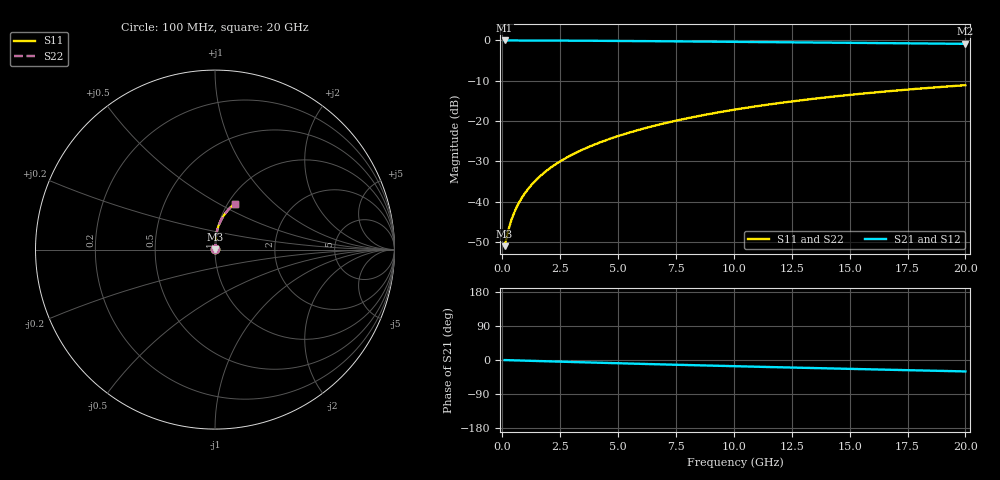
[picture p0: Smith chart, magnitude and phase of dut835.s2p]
! Touchstone file exported from HFSS 2024.1.0
!  File:  C:/UserFiles/LocalFiles/RDL_TSV_Batchsim/temp_RDL_top_835_1779855092.aedt
!  Generated:  12:13:35 PM May 27, 2026
!  Design:  RDL_top
!  Project:  temp_RDL_top_835_1779855092
!  Setup:  Setup1
!  Solution:  Sweep
! Variables:
!  dtsv = 10.80580581um
!  hbump = 3um
!  htsv = 69.52um
!  ldown = 100um
!  lrdl = 429.91um
!  p = 40
!  p1 = 44.15um
!  rhole = 1um
!  t = 450um
!  tdown = 3.915915916um
!  trdl = 3.17um
!  wdown = 15.38538539um
!  wrdl = 21.78um
# GHz S MA R 50.000000
! Terminal data exported
! Port[1] = Box2_T1
! Port[2] = Box2_T2
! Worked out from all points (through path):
!   200 points, 100 MHz to 20 GHz, reference 50 ohm
!   highest |S21| = -0.02 dB at 100 MHz (marker M1); lowest = -0.9 dB at 20 GHz (marker M2)
!   group delay of S21, straight-line fit = 4.15 ps
!   lowest |S11| = -51.0 dB at 100 MHz (marker M3), VSWR 1.01, Z = 50.2 + j0.142 ohm
!   |S11| at or under -10 dB: start of sweep to end of sweep
!   |S22| runs from -51.0 to -11.1 dB; largest |S21 - S12| = 3.5e-15
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0.1  0.002814 30.2  0.9976 -0.2  0.9976 -0.2  0.002814 30.2
! Gamma 0 0 0 0
! Port Impedance 50 0 50 0
0.2  0.003761 47.6  0.9974 -0.4  0.9974 -0.4  0.003761 47.6
0.3  0.004866 56.9  0.9973 -0.6  0.9973 -0.6  0.004866 56.9
0.4  0.006005 62.6  0.9971 -0.7  0.9971 -0.7  0.006005 62.6
0.5  0.007152 66.5  0.997 -0.9  0.997 -0.9  0.007152 66.5
0.6  0.008307 69.5  0.9969 -1.1  0.9969 -1.1  0.008307 69.5
0.8  0.01064 73.6  0.9966 -1.4  0.9966 -1.4  0.01064 73.6
1  0.01302 76.5  0.9963 -1.8  0.9963 -1.8  0.01302 76.5
1.2  0.01543 78.5  0.9961 -2.1  0.9961 -2.1  0.01543 78.5
1.4  0.01786 80.0  0.9957 -2.5  0.9957 -2.5  0.01786 80.0
1.7  0.02156 81.7  0.9952 -3.0  0.9952 -3.0  0.02156 81.7
2.2  0.02783 83.4  0.9941 -3.9  0.9941 -3.9  0.02783 83.5
2.8  0.03551 84.7  0.9925 -4.9  0.9925 -4.9  0.03551 84.7
3.5  0.04469 85.4  0.9902 -6.1  0.9902 -6.1  0.04469 85.5
4.2  0.05409 85.8  0.9876 -7.3  0.9876 -7.3  0.0541 85.8
5  0.06512 85.7  0.9842 -8.6  0.9842 -8.6  0.06512 85.7
6.8  0.09079 84.7  0.9758 -11.5  0.9758 -11.5  0.0908 84.7
8.4  0.1143 83.1  0.9676 -13.9  0.9676 -13.9  0.1143 83.1
10.1  0.1396 81.0  0.9588 -16.5  0.9588 -16.5  0.1396 81.0
13.4  0.1881 76.4  0.9413 -21.2  0.9413 -21.2  0.1881 76.4
16.7  0.2347 71.5  0.9237 -25.8  0.9237 -25.8  0.2347 71.5
20  0.2783 66.7  0.906 -30.2  0.906 -30.2  0.2784 66.8
